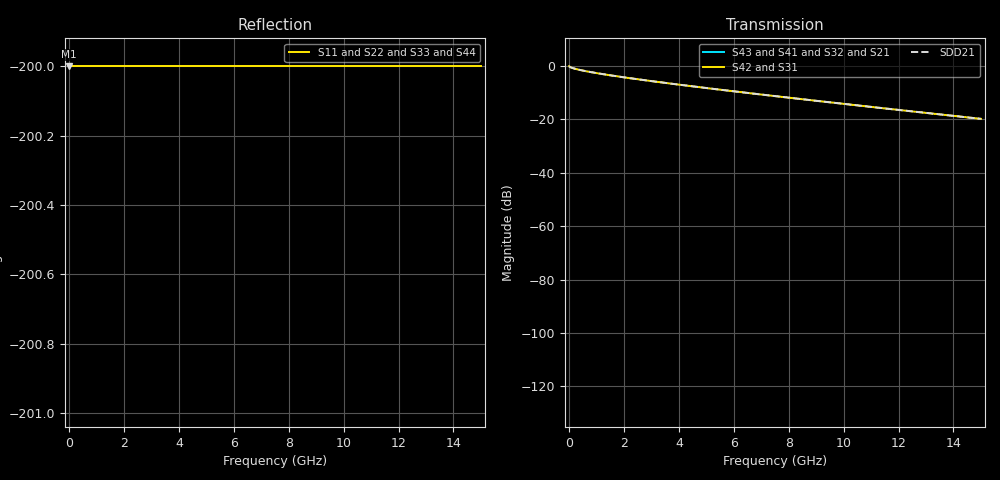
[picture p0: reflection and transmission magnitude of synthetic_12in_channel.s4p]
! Created with skrf 2.1.0 (http://scikit-rf.org).
# GHz S RI R 50.0
!freq ReS11 ImS11 ReS12 ImS12 ReS13 ImS13
! ReS14 ImS14
! ReS21 ImS21 ReS22 ImS22 ReS23 ImS23
! ReS24 ImS24
! ReS31 ImS31 ReS32 ImS32 ReS33 ImS33
! ReS34 ImS34
! ReS41 ImS41 ReS42 ImS42 ReS43 ImS43
! ReS44 ImS44
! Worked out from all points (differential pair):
!   1001 points, 1 MHz to 15 GHz, reference 50 ohm
!   strongest paths, dB at 1 MHz, 3.751 GHz, 7.5 GHz, 11.25 GHz, 15 GHz:
!     S42: -0.1, -6.7, -11.3, -15.6, -19.8
!     S31: -0.1, -6.7, -11.3, -15.6, -19.8
!     S43: -, -, -, -, -
!     S41: -, -, -, -, -
!     S32: -, -, -, -, -
!     S21: -, -, -, -, -
!   taken as a pair (ports 2,1 in; 4,3 out), SDD21 dB: -0.1, -6.7, -11.3, -15.6, -19.8
!   lowest |S11| = - dB at 1 MHz (marker M1), VSWR 1.00, Z = 50 + j0 ohm
!   |S11| at or under -10 dB: start of sweep to end of sweep
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0.001  0 0  0 0  0.9932 -0.0108  0 0
       0 0  0 0  0 0  0.9932 -0.0108
       0.9932 -0.0108  0 0  0 0  0 0
       0 0  0.9932 -0.0108  0 0  0 0
0.285981  0 0  0 0  -0.8687 -0.0305  0 0
          0 0  0 0  0 0  -0.8687 -0.0305
          -0.8687 -0.0305  0 0  0 0  0 0
          0 0  -0.8687 -0.0305  0 0  0 0
0.570962  0 0  0 0  0.8049 0.0654  0 0
          0 0  0 0  0 0  0.8049 0.0654
          0.8049 0.0654  0 0  0 0  0 0
          0 0  0.8049 0.0654  0 0  0 0
0.870942  0 0  0 0  -0.7556 0.0273  0 0
          0 0  0 0  0 0  -0.7556 0.0273
          -0.7556 0.0273  0 0  0 0  0 0
          0 0  -0.7556 0.0273  0 0  0 0
1.155923  0 0  0 0  0.7142 0.00684  0 0
          0 0  0 0  0 0  0.7142 0.00684
          0.7142 0.00684  0 0  0 0  0 0
          0 0  0.7142 0.00684  0 0  0 0
1.440904  0 0  0 0  -0.676 -0.0372  0 0
          0 0  0 0  0 0  -0.676 -0.0372
          -0.676 -0.0372  0 0  0 0  0 0
          0 0  -0.676 -0.0372  0 0  0 0
15  0 0  0 0  0.1024 -0.00583  0 0
    0 0  0 0  0 0  0.1024 -0.00583
    0.1024 -0.00583  0 0  0 0  0 0
    0 0  0.1024 -0.00583  0 0  0 0
